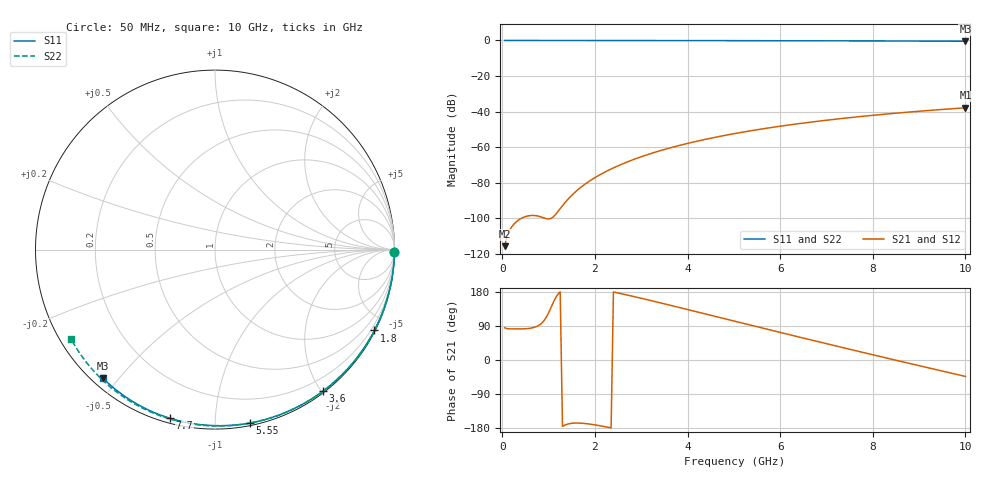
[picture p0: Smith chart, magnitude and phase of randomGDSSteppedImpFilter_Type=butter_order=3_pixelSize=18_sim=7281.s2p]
! freq	dB(S11)	phase(S11)	dB(S12)	phase(S12)
!  dB(S21)	phase(S21)	dB(S22)	phase(S22)
!S-par simulation data
#  GHz  S  DB  R 50
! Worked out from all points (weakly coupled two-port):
!   200 points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, 50 MHz to 10 GHz, reference 50 ohm
!   highest |S21| = -37.85 dB at 10 GHz (marker M1); lowest = -115.6 dB at 50 MHz (marker M2)
!   lowest |S11| = -0.4 dB at 10 GHz (marker M3), VSWR 39.14, Z = 1.54 - j22.7 ohm
!   |S11| at or under -10 dB: nowhere
!   |S22| runs from -0.5 to 0.0 dB; largest |S21 - S12| = 0
!   S11 on the Smith chart (normalised r, x): 50 MHz: open; 1.8 GHz: 0.04, -4.18; 3.6 GHz: 0.02, -2.02; 5.55 GHz: 0.02, -1.22; 7.7 GHz: 0.02, -0.77; 10 GHz: 0.03, -0.45
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0.05  -0.00 -0.8  -115.61 85.1  -115.61 85.1  -0.00 -0.9
0.45  -0.01 -6.8  -99.47 82.2  -99.47 82.2  -0.01 -7.7
0.9  -0.02 -13.6  -99.73 103.7  -99.73 103.7  -0.02 -15.3
1.3  -0.02 -19.5  -92.84 -175.2  -92.84 -175.2  -0.03 -22.0
1.75  -0.03 -26.1  -81.44 -167.2  -81.44 -167.2  -0.04 -29.5
1.8  -0.03 -26.9  -80.49 -167.8  -80.49 -167.8  -0.04 -30.3
1.85  -0.04 -27.6  -79.58 -168.5  -79.58 -168.5  -0.04 -31.1
2.05  -0.04 -30.5  -76.31 -172.2  -76.31 -172.2  -0.04 -34.4
2.2  -0.04 -32.7  -74.17 -175.5  -74.17 -175.5  -0.05 -36.8
2.55  -0.05 -37.8  -69.86 175.5  -69.86 175.5  -0.05 -42.5
2.95  -0.06 -43.5  -65.81 164.4  -65.81 164.4  -0.06 -48.9
3.4  -0.07 -49.8  -62.02 151.2  -62.02 151.2  -0.07 -56.0
3.6  -0.07 -52.6  -60.53 145.2  -60.53 145.2  -0.08 -59.1
4.3  -0.09 -62.1  -56.05 124.2  -56.05 124.2  -0.10 -69.7
5.05  -0.11 -72.1  -52.17 101.4  -52.17 101.4  -0.12 -80.8
5.55  -0.13 -78.5  -49.96 86.3  -49.96 86.3  -0.14 -88.0
6.1  -0.15 -85.5  -47.82 69.8  -47.82 69.8  -0.17 -95.8
6.7  -0.18 -92.9  -45.76 51.9  -45.76 51.9  -0.20 -104.1
7.7  -0.24 -104.8  -42.84 22.5  -42.84 22.5  -0.27 -117.6
8.35  -0.29 -112.4  -41.22 3.6  -41.22 3.6  -0.33 -126.3
9.2  -0.36 -122.1  -39.36 -20.7  -39.36 -20.7  -0.41 -137.5
10  -0.44 -131.2  -37.85 -43.3  -37.85 -43.3  -0.50 -148.2
